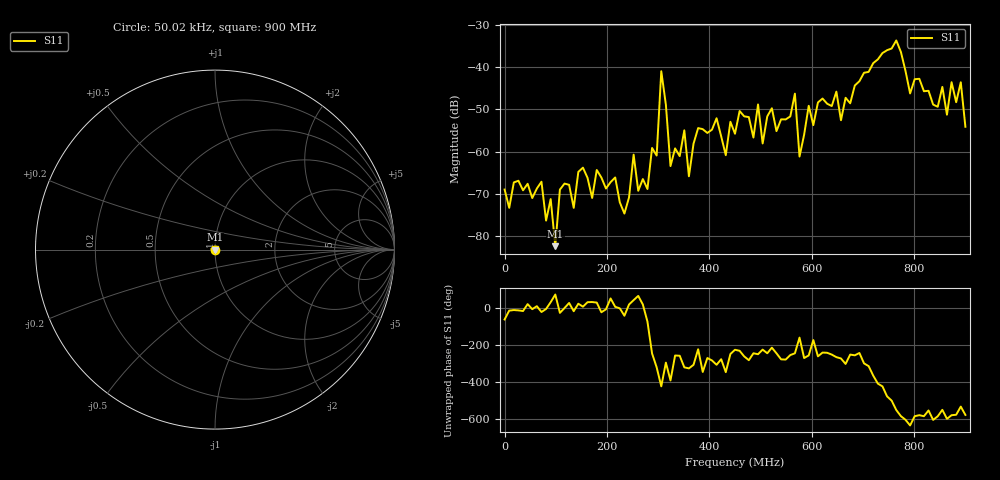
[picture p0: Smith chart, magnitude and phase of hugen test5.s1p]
! File created by NanoVNA (https://gen111.taobao.com/)
! Start 50016Hz  Stop 899999916Hz  Points 101
# HZ S MA R 50
!S - Parameter data, F S11
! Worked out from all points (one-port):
!   101 points, 50.02 kHz to 900 MHz, reference 50 ohm
!   lowest |S11| = -82.4 dB at 99.04 MHz (marker M1), VSWR 1.00, Z = 50 + j0.00711 ohm
!   |S11| at or under -10 dB: start of sweep to end of sweep
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50016  0.000355 -63.9
7.204592e7  0.000439 -23.8
9.904442e7  7.56e-05 70.2
1.170434e8  0.0004173 -2.5
2.160379e8  0.0004935 4.1
2.340369e8  0.0001841 -43.8
2.520359e8  0.0009201 40.2
2.610354e8  0.000343 62.9
2.970334e8  0.0008978 38.7
3.060329e8  0.008976 -63.4
3.240319e8  0.0006728 -31.8
3.420309e8  0.0008841 101.1
3.510304e8  0.001789 38.8
3.600299e8  0.0005096 33.0
4.140269e8  0.002484 52.5
4.320259e8  0.0009058 12.8
4.590244e8  0.003028 127.7
4.860229e8  0.001467 114.2
4.950224e8  0.003625 109.3
5.040219e8  0.001248 134.1
5.670184e8  0.00487 114.1
5.760179e8  0.0008722 -161.4
5.940169e8  0.003493 102.9
6.840119e8  0.006077 103.4
7.650074e8  0.02078 169.2
7.920059e8  0.004896 86.2
8.910004e8  0.006644 -172.5
8.999999e8  0.001968 142.9
